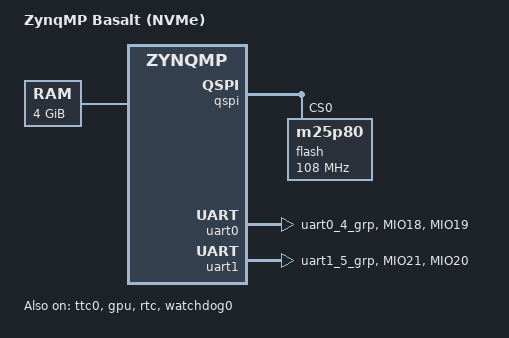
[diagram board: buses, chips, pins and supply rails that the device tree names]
// SPDX-License-Identifier: GPL-2.0+
/*
 * dts file for Xilinx ZynqMP ZCU106
 *
 * (C) Copyright 2016, Xilinx, Inc.
 *
 * Michal Simek <michal.simek@xilinx.com>
 */

/dts-v1/;

#include "zynqmp.dtsi"
#include "zynqmp-clk-ccf.dtsi"
#include <dt-bindings/input/input.h>
#include <dt-bindings/gpio/gpio.h>
#include <dt-bindings/pinctrl/pinctrl-zynqmp.h>
#include <dt-bindings/phy/phy.h>

/ {
	model = "ZynqMP Basalt (NVMe)";
	compatible = "xlnx,zynqmp";

	aliases {
		rtc0 = &rtc;
		serial0 = &uart0;
		serial1 = &uart1;
		spi0 = &qspi;
	};

	chosen {
		bootargs = "earlycon";
		stdout-path = "serial1:115200n8";
	};

	memory@0 {
		device_type = "memory";
		reg = <0x0 0x0 0x0 0x80000000>, <0x8 0x00000000 0x0 0x80000000>;
	};

	reserved-memory {
		#address-cells = <2>;
		#size-cells = <2>;
		ranges;
		rproc_0_reserved: rproc@60000000 {
			no-map;
			reg = <0x0 0x60000000 0x0 0x1ff00000>;
		};
		rproc_0_dma: rproc@7ff00000 {
			compatible = "shared-dma-pool";
			no-map;
			reg = <0x0 0x7ff00000 0x0 0x100000>;
		};
	};

	power-domains {
		pd_r5_0: pd_r5_0 {
			#power-domain-cells = <0x0>;
			pd-id = <0x7>;
		};
		pd_tcm_0_a: pd_tcm_0_a {
			#power-domain-cells = <0x0>;
			pd-id = <0xf>;
		};
		pd_tcm_0_b: pd_tcm_0_b {
			#power-domain-cells = <0x0>;
			pd-id = <0x10>;
		};
	};

	zynqmp_rpu: zynqmp_rpu {
		compatible = "xlnx,zynqmp-r5-remoteproc-1.0";
		core_conf = "split";
		#address-cells = <0x2>;
		#size-cells = <0x2>;
		ranges;

		r5_0: r5@0 {
			#address-cells = <0x2>;
			#size-cells = <0x2>;
			ranges;
			memory-region = <&rproc_0_reserved>, <&rproc_0_dma>;
			pnode-id = <0x7>;
			mboxes = <&ipi_mailbox_rpu0 0>,
					<&ipi_mailbox_rpu0 1>;
			mbox-names = "tx", "rx";

			r5_0_tcm_a: tcm@ffe00000 {
				reg = <0 0xFFE00000 0x0 0x10000>;
				pnode-id = <0xf>;
			};
			r5_0_tcm_b: tcm@ffe20000 {
				reg = <0 0xFFE20000 0x0 0x10000>;
				pnode-id = <0x10>;
		};
	};

	} ;

	zynqmp_ipi {
		compatible = "xlnx,zynqmp-ipi-mailbox";
		interrupt-parent = <&gic>;
		interrupts = <0 29 4>;
		xlnx,ipi-id = <0x7>;
		#address-cells = <1>;
		#size-cells = <1>;
		ranges;

		/* APU<->RPU0 IPI mailbox controller */
		ipi_mailbox_rpu0: mailbox@ff990600 {
			reg = <0xff990600 0x20>,
			<0xff990620 0x20>,
			<0xff9900c0 0x20>,
			<0xff9900e0 0x20>;
			reg-names = "local_request_region",
					"local_response_region",
					"remote_request_region",
					"remote_response_region";
			#mbox-cells = <1>;
			xlnx,ipi-id = <1>;
		};
	};
};

&qspi {
	status = "okay";
	flash@0 {
		compatible = "m25p80", "jedec,spi-nor";
		#address-cells = <1>;
		#size-cells = <1>;
		reg = <0x0>;
		spi-tx-bus-width = <1>;
		spi-rx-bus-width = <4>;
		spi-max-frequency = <108000000>;
	};
};

&ttc0 {
	compatible = "ttc0";
	status = "okay";
};

&fpd_dma_chan1 {
	status = "okay";
};

&fpd_dma_chan2 {
	status = "okay";
};

&fpd_dma_chan3 {
	status = "okay";
};

&fpd_dma_chan4 {
	status = "okay";
};

&fpd_dma_chan5 {
	status = "okay";
};

&fpd_dma_chan6 {
	status = "okay";
};

&fpd_dma_chan7 {
	status = "okay";
};

&fpd_dma_chan8 {
	status = "okay";
};

&gpu {
	status = "okay";
};

&pinctrl0 {
	status = "okay";
	pinctrl_uart0_default: uart0-default {
		mux {
			groups = "uart0_4_grp";
			function = "uart0";
		};

		conf {
			groups = "uart0_4_grp";
			slew-rate = <SLEW_RATE_SLOW>;
			io-standard = <IO_STANDARD_LVCMOS18>;
		};

		conf-rx {
			pins = "MIO18";
			bias-high-impedance;
		};

		conf-tx {
			pins = "MIO19";
			bias-disable;
		};
	};

	pinctrl_uart1_default: uart1-default {
		mux {
			groups = "uart1_5_grp";
			function = "uart1";
		};

		conf {
			groups = "uart1_5_grp";
			slew-rate = <SLEW_RATE_SLOW>;
			io-standard = <IO_STANDARD_LVCMOS18>;
		};

		conf-rx {
			pins = "MIO21";
			bias-high-impedance;
		};

		conf-tx {
			pins = "MIO20";
			bias-disable;
		};
	};
};

&rtc {
	status = "okay";
};

&uart0 {
	status = "okay";
	pinctrl-names = "default";
	pinctrl-0 = <&pinctrl_uart0_default>;
};

&uart1 {
	status = "okay";
	pinctrl-names = "default";
	pinctrl-0 = <&pinctrl_uart1_default>;
};

&watchdog0 {
	status = "okay";
};
